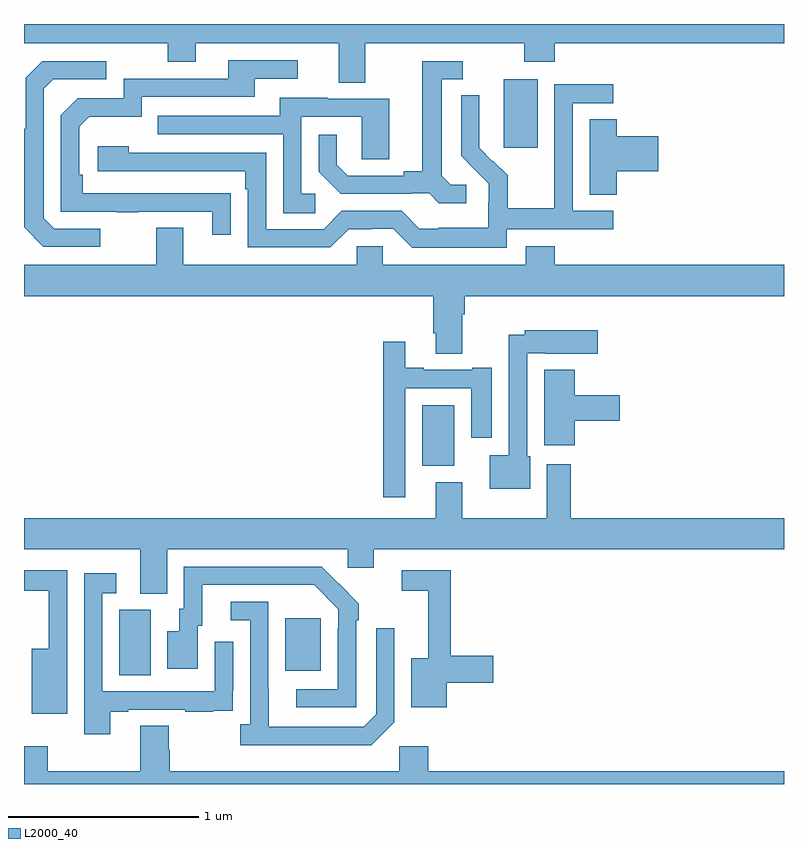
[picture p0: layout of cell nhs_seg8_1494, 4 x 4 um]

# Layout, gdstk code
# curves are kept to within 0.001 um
import gdstk
lib = gdstk.Library(unit=1e-6, precision=1e-09)
def R(c, l, rs):  # rectangles x0, y0, x1, y1
    for r in rs: c.add(gdstk.rectangle(r[:2], r[2:], *l))
def P(c, l, *ps):  # polygons
    for p in ps: c.add(gdstk.Polygon(p, *l))
L2000_40 = (2000, 40)

nhs_seg8_1494 = lib.new_cell('nhs_seg8_1494')
R(nhs_seg8_1494, L2000_40, [(205.502,1146.472,205.666,1146.816), (206.375,1146.497,206.563,1146.772), (207.095,1147.574,207.265,1147.894), (207.524,1149.249,207.703,1149.61)])
P(nhs_seg8_1494, L2000_40, [(206.797,1149.8),(207.634,1149.8),(207.634,1149.701),(207.794,1149.701),(207.794,1149.8),(209,1149.8),(209,1149.9),(205,1149.9),(205,1149.8),(205.756,1149.8),(205.756,1149.701),(205.903,1149.701),(205.903,1149.8),(206.657,1149.8),(206.657,1149.592),(206.797,1149.592)],
  [(206.087,1149.008),(205.31,1149.009),(205.31,1149.106),(205.29,1149.106),(205.29,1149.36),(205.343,1149.413),(205.62,1149.413),(205.62,1149.516),(206.215,1149.516),(206.215,1149.612),(206.44,1149.612),(206.44,1149.708),(206.075,1149.708),(206.075,1149.612),(205.524,1149.612),(205.524,1149.51),(205.284,1149.51),(205.194,1149.42),(205.194,1148.913),(205.489,1148.913),(205.489,1148.908),(205.601,1148.908),(205.601,1148.913),(205.991,1148.913),(205.991,1148.79),(206.087,1148.79)],
  [(205.402,1148.823),(205.158,1148.823),(205.104,1148.877),(205.104,1149.558),(205.155,1149.609),(205.432,1149.609),(205.432,1149.705),(205.095,1149.705),(205.008,1149.618),(205.008,1149.349),(205,1149.349),(205,1148.829),(205.101,1148.727),(205.402,1148.727)],
  [(207.328,1149.054),(207.246,1149.054),(207.199,1149.101),(207.199,1149.609),(207.31,1149.609),(207.31,1149.705),(207.095,1149.705),(207.095,1149.125),(206.999,1149.125),(206.999,1149.102),(206.704,1149.102),(206.647,1149.159),(206.647,1149.316),(206.55,1149.316),(206.55,1149.122),(206.666,1149.006),(207.038,1149.006),(207.038,1149.009),(207.132,1149.009),(207.184,1148.957),(207.328,1148.957)],
  [(207.54,1148.82),(208.102,1148.82),(208.102,1148.916),(207.888,1148.916),(207.888,1149.483),(208.102,1149.483),(208.102,1149.582),(207.792,1149.582),(207.792,1149.152),(207.79,1149.152),(207.79,1148.929),(207.545,1148.929),(207.545,1149.103),(207.468,1149.18),(207.465,1149.177),(207.395,1149.248),(207.396,1149.524),(207.3,1149.524),(207.3,1149.206),(207.446,1149.058),(207.446,1148.961),(207.444,1148.961),(207.444,1148.827),(207.181,1148.827),(207.181,1148.823),(207.081,1148.823),(206.988,1148.916),(206.673,1148.916),(206.577,1148.82),(206.274,1148.82),(206.274,1149.222),(205.55,1149.222),(205.55,1149.256),(205.389,1149.256),(205.389,1149.126),(206.165,1149.126),(206.165,1149.029),(206.178,1149.029),(206.178,1148.724),(206.613,1148.724),(206.709,1148.82),(206.828,1148.82),(206.828,1148.823),(206.943,1148.823),(207.043,1148.723),(207.54,1148.723)],
  [(206.533,1149.006),(206.46,1149.006),(206.46,1149.411),(206.778,1149.411),(206.778,1149.187),(206.923,1149.187),(206.923,1149.507),(206.599,1149.507),(206.599,1149.511),(206.345,1149.511),(206.345,1149.417),(205.705,1149.417),(205.705,1149.321),(206.364,1149.321),(206.364,1148.905),(206.533,1148.905)],
  [(208.121,1149.125),(208.339,1149.125),(208.339,1149.308),(208.121,1149.308),(208.121,1149.398),(207.977,1149.398),(207.977,1149.001),(208.121,1149.001)],
  [(207.307,1148.372),(207.32,1148.372),(207.32,1148.468),(209,1148.468),(209,1148.632),(207.794,1148.632),(207.794,1148.731),(207.641,1148.731),(207.641,1148.632),(206.889,1148.632),(206.889,1148.73),(206.751,1148.73),(206.751,1148.632),(205.837,1148.632),(205.837,1148.827),(205.697,1148.827),(205.697,1148.632),(205,1148.632),(205,1148.468),(207.155,1148.468),(207.155,1148.272),(207.167,1148.272),(207.167,1148.164),(207.307,1148.164)],
  [(207.664,1147.626),(207.648,1147.626),(207.648,1148.166),(207.745,1148.166),(207.745,1148.165),(208.021,1148.165),(208.021,1148.287),(207.636,1148.287),(207.636,1148.264),(207.552,1148.264),(207.552,1147.63),(207.452,1147.63),(207.452,1147.454),(207.664,1147.454)],
  [(207.006,1147.983),(207.353,1147.983),(207.353,1147.722),(207.463,1147.722),(207.463,1148.092),(207.359,1148.092),(207.359,1148.079),(207.103,1148.079),(207.103,1148.092),(207.007,1148.092),(207.007,1148.227),(206.89,1148.227),(206.89,1147.41),(207.006,1147.41)],
  [(207.899,1147.811),(208.135,1147.811),(208.135,1147.945),(207.899,1147.945),(207.899,1148.08),(207.737,1148.08),(207.737,1147.683),(207.899,1147.683)],
  [(205.753,1147.136),(206.703,1147.136),(206.703,1147.038),(206.842,1147.038),(206.842,1147.136),(209,1147.136),(209,1147.3),(207.878,1147.3),(207.878,1147.582),(207.752,1147.582),(207.752,1147.3),(207.307,1147.3),(207.307,1147.489),(207.167,1147.489),(207.167,1147.3),(205,1147.3),(205,1147.136),(205.613,1147.136),(205.613,1146.901),(205.753,1146.901)],
  [(206.748,1146.761),(206.763,1146.761),(206.763,1146.849),(206.566,1147.044),(205.842,1147.044),(205.842,1146.822),(205.817,1146.822),(205.817,1146.703),(205.754,1146.703),(205.754,1146.507),(205.915,1146.507),(205.915,1146.732),(205.939,1146.732),(205.939,1146.948),(206.527,1146.948),(206.655,1146.819),(206.655,1146.719),(206.652,1146.719),(206.652,1146.399),(206.433,1146.399),(206.433,1146.303),(206.748,1146.303)],
  [(207.226,1146.433),(207.469,1146.433),(207.469,1146.575),(207.245,1146.575),(207.245,1147.026),(206.988,1147.026),(206.988,1146.918),(207.128,1146.918),(207.128,1146.562),(207.038,1146.562),(207.038,1146.305),(207.226,1146.305)],
  [(205.228,1146.509),(205.227,1146.509),(205.227,1147.026),(205,1147.026),(205,1146.918),(205.13,1146.918),(205.13,1146.613),(205.04,1146.613),(205.04,1146.269),(205.228,1146.269)],
  [(205.453,1146.279),(205.549,1146.279),(205.549,1146.291),(205.849,1146.291),(205.849,1146.279),(205.997,1146.279),(205.997,1146.285),(206.099,1146.285),(206.099,1146.394),(206.1,1146.394),(206.1,1146.649),(206.004,1146.649),(206.004,1146.387),(205.413,1146.387),(205.413,1146.903),(205.486,1146.903),(205.486,1147.009),(205.317,1147.009),(205.317,1146.162),(205.453,1146.162)],
  [(206.949,1146.225),(206.949,1146.721),(206.853,1146.721),(206.853,1146.267),(206.787,1146.201),(206.287,1146.201),(206.286,1146.858),(206.088,1146.858),(206.088,1146.762),(206.19,1146.762),(206.19,1146.214),(206.139,1146.214),(206.139,1146.104),(206.828,1146.104)],
  [(209,1145.968),(207.128,1145.968),(207.128,1146.1),(206.976,1146.1),(206.976,1145.968),(205.766,1145.968),(205.766,1146.081),(205.761,1146.081),(205.761,1146.206),(205.613,1146.206),(205.613,1145.968),(205.125,1145.968),(205.125,1146.1),(205,1146.1),(205,1145.9),(209,1145.9)])

lib.write_gds('nhs_seg8_1494.gds')
